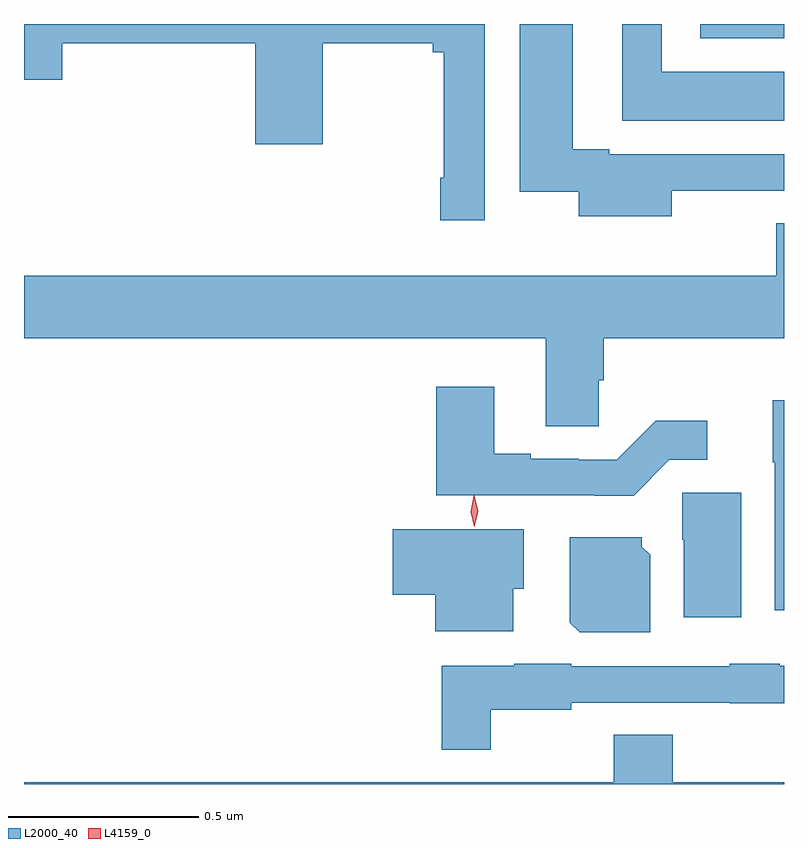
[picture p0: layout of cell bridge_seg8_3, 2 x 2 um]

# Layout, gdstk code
import gdstk
lib = gdstk.Library(unit=1e-6, precision=1e-09)
def R(c, l, rs):  # rectangles x0, y0, x1, y1
    for r in rs: c.add(gdstk.rectangle(r[:2], r[2:], *l))
def P(c, l, *ps):  # polygons
    for p in ps: c.add(gdstk.Polygon(p, *l))
L2000_40 = (2000, 40)
L4159_0 = (4159, 0)

bridge_seg8_3 = lib.new_cell('bridge_seg8_3')
R(bridge_seg8_3, L2000_40, [(997.227,1154.585,997.448,1154.623)])
P(bridge_seg8_3, L2000_40, [(996.66,1154.623),(995.448,1154.623),(995.448,1154.476),(995.549,1154.476),(995.549,1154.572),(996.056,1154.572),(996.056,1154.307),(996.234,1154.307),(996.234,1154.572),(996.523,1154.572),(996.523,1154.549),(996.552,1154.549),(996.552,1154.218),(996.544,1154.218),(996.544,1154.106),(996.66,1154.106)],
  [(997.153,1154.184),(997.448,1154.184),(997.448,1154.28),(996.988,1154.28),(996.988,1154.293),(996.892,1154.293),(996.892,1154.623),(996.752,1154.623),(996.752,1154.182),(996.908,1154.182),(996.908,1154.117),(997.153,1154.117)],
  [(997.448,1154.497),(997.126,1154.497),(997.126,1154.623),(997.022,1154.623),(997.022,1154.369),(997.448,1154.369)],
  [(996.96,1153.686),(996.974,1153.686),(996.974,1153.796),(997.448,1153.796),(997.448,1154.099),(997.427,1154.099),(997.427,1153.96),(995.448,1153.96),(995.448,1153.796),(996.821,1153.796),(996.821,1153.564),(996.96,1153.564)],
  [(997.146,1153.476),(997.246,1153.476),(997.246,1153.579),(997.111,1153.579),(997.008,1153.476),(996.908,1153.476),(996.908,1153.479),(996.781,1153.479),(996.781,1153.492),(996.685,1153.492),(996.685,1153.669),(996.533,1153.669),(996.533,1153.383),(996.95,1153.383),(996.95,1153.382),(997.052,1153.382)],
  [(997.448,1153.633),(997.418,1153.633),(997.418,1153.47),(997.424,1153.47),(997.424,1153.08),(997.448,1153.08)],
  [(997.336,1153.389),(997.18,1153.389),(997.18,1153.266),(997.184,1153.266),(997.184,1153.062),(997.336,1153.062)],
  [(996.736,1153.137),(996.763,1153.137),(996.763,1153.294),(996.419,1153.294),(996.419,1153.121),(996.53,1153.121),(996.53,1153.025),(996.736,1153.025)],
  [(997.096,1153.226),(997.074,1153.248),(997.074,1153.273),(996.884,1153.273),(996.884,1153.048),(996.91,1153.022),(997.096,1153.022)],
  [(996.676,1152.818),(996.888,1152.818),(996.888,1152.837),(997.305,1152.837),(997.305,1152.836),(997.448,1152.836),(997.448,1152.934),(997.437,1152.934),(997.437,1152.94),(997.305,1152.94),(997.305,1152.933),(996.888,1152.933),(996.888,1152.94),(996.738,1152.94),(996.738,1152.934),(996.547,1152.934),(996.547,1152.713),(996.676,1152.713)],
  [(997.448,1152.628),(997.155,1152.628),(997.155,1152.752),(997,1152.752),(997,1152.628),(995.448,1152.628),(995.448,1152.623),(997.448,1152.623)])
P(bridge_seg8_3, L4159_0, [(996.633,1153.3),(996.633,1153.3),(996.623,1153.34),(996.632,1153.381),(996.632,1153.381),(996.633,1153.381),(996.643,1153.341),(996.633,1153.3)])

lib.write_gds('bridge_seg8_3.gds')
